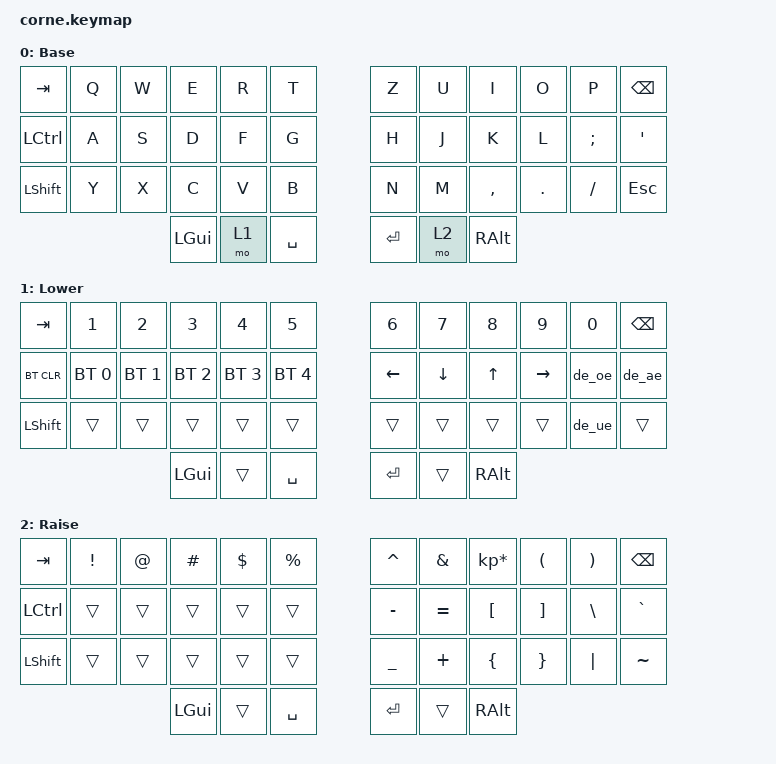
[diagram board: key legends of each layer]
/*
 * Copyright (c) 2020 The ZMK Contributors
 *
 * SPDX-License-Identifier: MIT
 */

//#include "config/german.dtsi"
#include <dt-bindings/zmk/keys.h>
#include <dt-bindings/zmk/bt.h>
//#include <config/keymap_german_mac_iso_zmk.h>


#define HOST_OS 2

//#include "zmk-helpers/helper.h"
//#include "zmk-helpers/unicode-chars/german.dtsi"

/ {
      // ZMK_UNICODE_PAIR(de_ae, N0, N0, E, N4, N0, N0, C, N4) // ä/Ä
      // ZMK_UNICODE_PAIR(de_oe, N0, N0, F, N6, N0, N0, D, N6) // ö/Ö
      // ZMK_UNICODE_PAIR(de_ue, N0, N0, F, C, N0, N0, D, C) // ü/Ü


        de_ue {
            label = "ü";
            bindings = <&kp U &kp LS(LS(U))>;
        };

        de_oe {
            label = "ö";
            bindings = <&kp O &kp LS(LS(O))>;
        };

        de_ae {
            label = "ä";
            bindings = <&kp A &kp LS(LS(A))>;
        };
    };

   / {
        keymap {
                compatible = "zmk,keymap";

                default_layer {
// -----------------------------------------------------------------------------------------
// |  TAB |  Q  |  W  |  E  |  R  |  T  |   |  Y  |  U   |  I  |  O  |  P  | BKSP |
// | CTRL |  A  |  S  |  D  |  F  |  G  |   |  H  |  J   |  K  |  L  |  ;  |  '   |
// | SHFT |  Z  |  X  |  C  |  V  |  B  |   |  N  |  M   |  ,  |  .  |  /  | ESC  |
//                    | GUI | LWR | SPC |   | ENT | RSE  | ALT |
                        display-name = "Base";
                        bindings = <
   &kp TAB   &kp Q &kp W &kp E &kp R &kp T   &kp Z &kp U  &kp I     &kp O   &kp P    &kp BSPC
   &kp LCTRL &kp A &kp S &kp D &kp F &kp G   &kp H &kp J  &kp K     &kp L   &kp SEMI &kp SQT
   &kp LSHFT &kp Y &kp X &kp C &kp V &kp B   &kp N &kp M  &kp COMMA &kp DOT &kp FSLH &kp ESC
                  &kp LGUI &mo 1 &kp SPACE   &kp RET &mo 2 &kp RALT
                        >;
                };
                lower_layer {
// -----------------------------------------------------------------------------------------
// |  TAB |  1  |  2  |  3  |  4  |  5  |   |  6  |  7  |  8  |  9  |  0  | BKSP |
// | BTCLR| BT1 | BT2 | BT3 | BT4 | BT5 |   | LFT | DWN |  UP | RGT |     |      |
// | SHFT |     |     |     |     |     |   |     |     |     |     |     |      |
//                    | GUI |     | SPC |   | ENT |     | ALT |
                        display-name = "Lower";
                        bindings = <
   &kp TAB    &kp N1       &kp N2       &kp N3       &kp N4       &kp N5         &kp N6   &kp N7   &kp N8 &kp N9            &kp N0 &kp BSPC
   &bt BT_CLR &bt BT_SEL 0 &bt BT_SEL 1 &bt BT_SEL 2 &bt BT_SEL 3 &bt BT_SEL 4   &kp LEFT &kp DOWN &kp UP &kp RIGHT         &de_oe &de_ae
   &kp LSHFT  &trans       &trans       &trans       &trans       &trans         &trans   &trans   &trans &trans           &de_ue  &trans
                          	        &kp LGUI     &trans       &kp SPACE      &kp RET  &trans   &kp RALT
                        >;
                };

                raise_layer {
// -----------------------------------------------------------------------------------------
// |  TAB |  !  |  @  |  #  |  $  |  %  |   |  ^  |  &  |  *  |  (  |  )  | BKSP |
// | CTRL |     |     |     |     |     |   |  -  |  =  |  [  |  ]  |  \  |  `   |
// | SHFT |     |     |     |     |     |   |  _  |  +  |  {  |  }  | "|" |  ~   |
//                    | GUI |     | SPC |   | ENT |     | ALT |
                        display-name = "Raise";
                        bindings = <
   &kp  TAB  &kp EXCL &kp AT &kp HASH &kp DLLR &kp PRCNT   &kp CARET &kp AMPS  &kp KP_MULTIPLY &kp LPAR &kp RPAR &kp BSPC
   &kp LCTRL &trans   &trans &trans   &trans   &trans      &kp MINUS &kp EQUAL &kp LBKT        &kp RBKT &kp BSLH &kp GRAVE
   &kp LSHFT &trans   &trans &trans   &trans   &trans      &kp UNDER &kp PLUS  &kp LBRC        &kp RBRC &kp PIPE &kp TILDE
                    	     &kp LGUI &trans   &kp SPACE   &kp RET   &trans    &kp RALT
                        >;
                };

                extra_1 {
                        status = "reserved";
                };

                extra_2 {
                        status = "reserved";
                };

                extra_3 {
                        status = "reserved";
                };
        };

};
